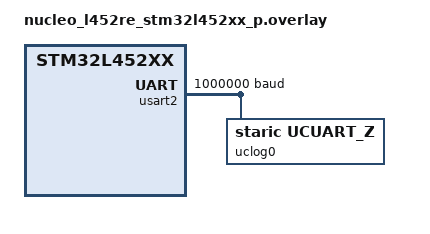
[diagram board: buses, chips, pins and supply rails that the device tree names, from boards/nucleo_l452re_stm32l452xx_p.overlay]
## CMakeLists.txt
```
# © 2026 Unit Circle Inc.
# SPDX-License-Identifier: Apache-2.0
#
# A minimal ucLog app on Zephyr. The board's overlay (boards/) picks the link; the uclog-target0
# snippet adds the LOGDATA region the format strings go in (and ucLog's Kconfig defaults):
#
#   west build -b nucleo_l452re/stm32l452xx/p path/to/examples/zephyr

cmake_minimum_required(VERSION 3.20.0)

# `west build -S uclog-target0` by default, so a plain build works (-S uclog-target1 for an image
# whose logs are told apart as target 1, such as an app behind a bootloader that also logs).
if(NOT "${SNIPPET}" MATCHES "uclog-target")
  set(SNIPPET uclog-target0 ${SNIPPET} CACHE STRING "" FORCE)
endif()

find_package(Zephyr REQUIRED HINTS $ENV{ZEPHYR_BASE})
project(uclog_example)

target_sources(app PRIVATE src/main.c)
```

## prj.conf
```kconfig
# ucLog on the devicetree's uclog,link (boards/*.overlay).
CONFIG_UC_LOG=y
# Zephyr's LOG_INF() and friends become ucLog logs; no Zephyr log backends or console.
CONFIG_LOG=y
CONFIG_LOG_MODE_MINIMAL=y
CONFIG_LOG_CUSTOM_HEADER=y
CONFIG_CONSOLE=n
CONFIG_UART_CONSOLE=n
CONFIG_BOOT_BANNER=n

# The example's LED.
CONFIG_GPIO=y
```

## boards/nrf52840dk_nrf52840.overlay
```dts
/* ucLog on UARTE0 (the J-Link virtual COM port) at 1 Mbaud, through the Unit Circle ucuart driver
 * (nRF only; TIMER4 counts received bytes). Build-tested only. */

&uart0 {
	compatible = "unitcircle,ucuart";
	current-speed = <1000000>;
};
```

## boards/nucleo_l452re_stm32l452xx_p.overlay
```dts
/* ucLog on the ST-LINK virtual COM port (USART2, PA2/PA3) at 1 Mbaud, through ucuart_z, with DMA
 * (DMA1 channel 7 TX, channel 6 RX, request 2, as the bare-metal firmware) so that it uses the
 * async UART API. RX DMA must be circular: the STM32L4 USART has no FIFO, so at 1 Mbaud both
 * interrupt-driven RX and the default buffer-by-buffer DMA lose bytes (between buffers). */

/ {
	chosen {
		uclog,link = &uclog0;
	};
};

&dma1 {
	status = "okay";
};

&usart2 {
	current-speed = <1000000>;
	dmas = <&dma1 7 2 (STM32_DMA_PERIPH_TX | STM32_DMA_PRIORITY_HIGH)>,
	       <&dma1 6 2 (STM32_DMA_PERIPH_RX | STM32_DMA_PRIORITY_HIGH | STM32_DMA_MODE_CYCLIC)>;
	dma-names = "tx", "rx";

	uclog0: uclog {
		compatible = "staric,ucuart_z";
		current-speed = <1000000>;
	};
};
```

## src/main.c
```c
// © 2026 Unit Circle Inc.
// SPDX-License-Identifier: Apache-2.0
//
// A minimal ucLog app on Zephyr: a log every second, and a terminal (port 61) with two commands.
// ucLog starts itself (no init call); Zephyr's LOG_INF() and friends are ucLog logs
// (CONFIG_LOG_CUSTOM_HEADER), and log.h's LOG_INFO() works too. Connect with any host, e.g.
// `uclog tui`, and type `help` in the Terminal view.

#include <string.h>

#include <zephyr/drivers/gpio.h>
#include <zephyr/kernel.h>
#include <zephyr/logging/log.h>

#include "log.h"

LOG_MODULE_REGISTER(main);

#define TERM_PORT 61 // the terminal (spec/protocol.md §5.7)

typedef enum { LED_OFF, LED_ON, LED_BLINK } led_mode_t;

static const struct gpio_dt_spec led = GPIO_DT_SPEC_GET(DT_ALIAS(led0), gpios);
static led_mode_t led_mode = LED_BLINK;

static void reply(const char *s) {
  log_tx(TERM_PORT, (const uint8_t *)s, strlen(s));
}

// A line from the terminal (the hosts send whole lines, ending in \r). Handlers run in ucLog's
// thread.
static void on_terminal(const uint8_t *rx, size_t n, void *ctx) {
  static char line[32];
  static size_t len;
  for (size_t i = 0; i < n; i++) {
    char c = (char)rx[i];
    if (c != '\r' && c != '\n') {
      if (len < sizeof(line) - 1) line[len++] = c;
      continue;
    }
    line[len] = 0;
    len = 0;
    if (line[0] == 0) continue;
    if (strcmp(line, "led on") == 0) led_mode = LED_ON;
    else if (strcmp(line, "led off") == 0) led_mode = LED_OFF;
    else if (strcmp(line, "led blink") == 0) led_mode = LED_BLINK;
    else {
      reply("commands: led on, led off, led blink\r\n");
      continue;
    }
    LOG_INFO("LED mode {enum:led_mode_t}%d", led_mode); // shown as LED_ON, LED_OFF or LED_BLINK
    reply("ok\r\n");
  }
}

int main(void) {
  gpio_pin_configure_dt(&led, GPIO_OUTPUT_INACTIVE);
  log_notify(TERM_PORT, on_terminal, NULL);
  LOG_INF("hello from %s on %s", "ucLog", CONFIG_BOARD);

  for (uint32_t count = 1;; count++) {
    k_sleep(K_SECONDS(1));
    LOG_INF("tick %u, uptime %.1f s", count, k_uptime_get() / 1000.0);
    if (count % 10 == 0) LOG_WRN("%u ticks without a reset", count);
    gpio_pin_set_dt(&led, led_mode == LED_BLINK ? count & 1 : led_mode == LED_ON);
  }
}
```
